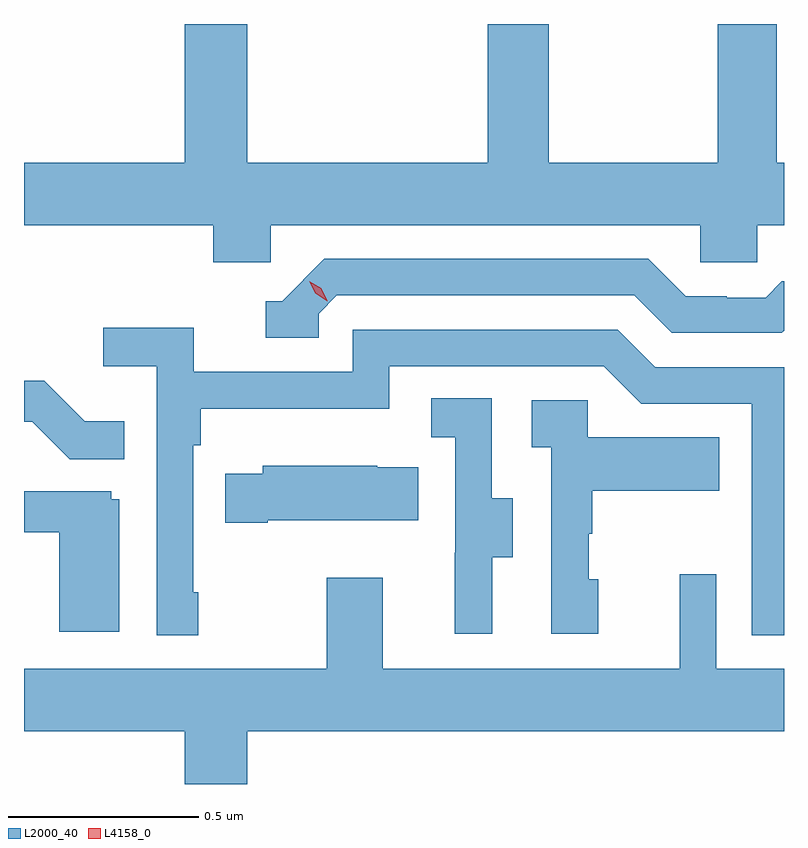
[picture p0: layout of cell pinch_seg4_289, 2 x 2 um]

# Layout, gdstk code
import gdstk
lib = gdstk.Library(unit=1e-6, precision=1e-09)
def P(c, l, *ps):  # polygons
    for p in ps: c.add(gdstk.Polygon(p, *l))
L2000_40 = (2000, 40)
L4158_0 = (4158, 0)

pinch_seg4_289 = lib.new_cell('pinch_seg4_289')
P(pinch_seg4_289, L2000_40, [(908.49,810.14),(909.621,810.14),(909.621,810.042),(909.771,810.042),(909.771,810.14),(909.841,810.14),(909.841,810.304),(909.822,810.304),(909.822,810.669),(909.667,810.669),(909.667,810.304),(909.222,810.304),(909.222,810.669),(909.062,810.669),(909.062,810.304),(908.428,810.304),(908.428,810.669),(908.264,810.669),(908.264,810.304),(907.841,810.304),(907.841,810.14),(908.339,810.14),(908.339,810.042),(908.49,810.042)],
  [(908.616,809.907),(908.664,809.955),(909.447,809.955),(909.546,809.856),(909.835,809.856),(909.841,809.862),(909.841,809.992),(909.835,809.992),(909.793,809.949),(909.69,809.949),(909.69,809.952),(909.583,809.952),(909.484,810.051),(908.631,810.051),(908.52,809.94),(908.477,809.94),(908.477,809.844),(908.616,809.844)],
  [(908.299,809.173),(908.286,809.173),(908.286,809.561),(908.306,809.561),(908.306,809.657),(908.802,809.657),(908.802,809.769),(909.366,809.769),(909.465,809.67),(909.756,809.67),(909.756,809.061),(909.841,809.061),(909.841,809.766),(909.502,809.766),(909.403,809.865),(908.706,809.865),(908.706,809.754),(908.288,809.754),(908.288,809.87),(908.049,809.87),(908.049,809.768),(908.19,809.768),(908.19,809.061),(908.299,809.061)],
  [(908.105,809.623),(908.001,809.623),(907.894,809.73),(907.841,809.73),(907.841,809.622),(907.863,809.622),(907.961,809.524),(908.105,809.524)],
  [(909.073,809.266),(909.127,809.266),(909.127,809.421),(909.072,809.421),(909.072,809.684),(908.913,809.684),(908.913,809.581),(908.976,809.581),(908.976,809.277),(908.975,809.277),(908.975,809.064),(909.073,809.064)],
  [(909.352,809.208),(909.327,809.208),(909.327,809.327),(909.337,809.327),(909.337,809.441),(909.671,809.441),(909.671,809.581),(909.324,809.581),(909.324,809.679),(909.177,809.679),(909.177,809.555),(909.228,809.555),(909.228,809.064),(909.352,809.064)],
  [(908.482,809.363),(908.879,809.363),(908.879,809.503),(908.771,809.503),(908.771,809.506),(908.469,809.506),(908.469,809.485),(908.371,809.485),(908.371,809.356),(908.482,809.356)],
  [(908.092,809.418),(908.07,809.418),(908.07,809.439),(907.841,809.439),(907.841,809.331),(907.934,809.331),(907.934,809.07),(908.092,809.07)],
  [(908.428,808.808),(909.841,808.808),(909.841,808.972),(909.663,808.972),(909.663,809.221),(909.566,809.221),(909.566,808.972),(908.785,808.972),(908.785,809.212),(908.638,809.212),(908.638,808.972),(907.841,808.972),(907.841,808.808),(908.264,808.808),(908.264,808.669),(908.428,808.669)])
P(pinch_seg4_289, L4158_0, [(908.639,809.94),(908.608,809.96),(908.592,809.992),(908.592,809.992),(908.592,809.992),(908.623,809.973),(908.639,809.941),(908.639,809.94)])

lib.write_gds('pinch_seg4_289.gds')
